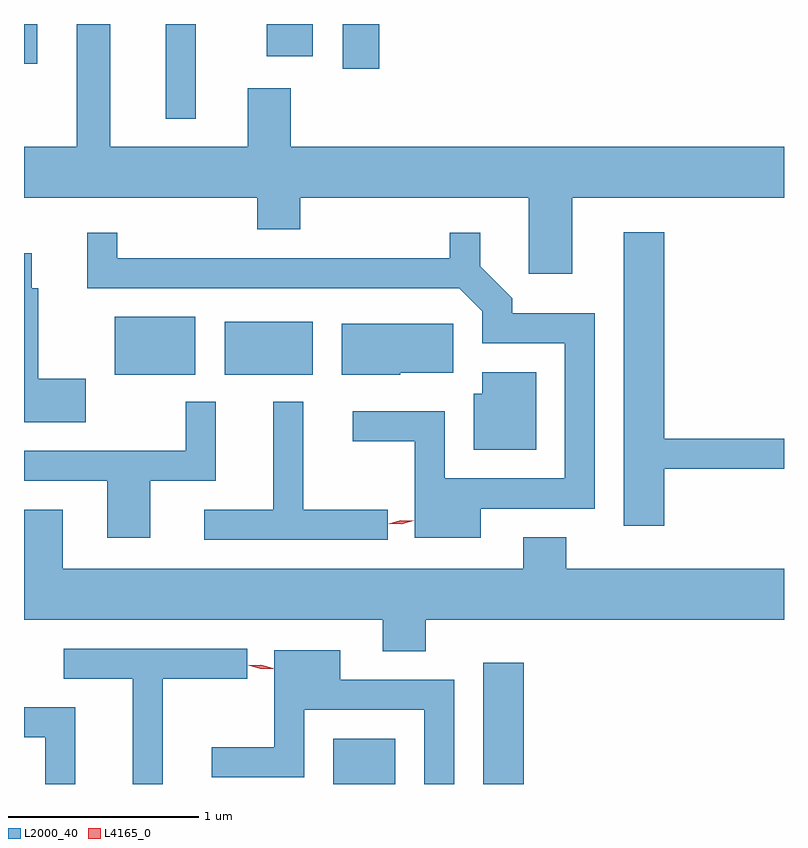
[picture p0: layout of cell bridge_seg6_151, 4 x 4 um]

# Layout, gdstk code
import gdstk
lib = gdstk.Library(unit=1e-6, precision=1e-09)
def R(c, l, rs):  # rectangles x0, y0, x1, y1
    for r in rs: c.add(gdstk.rectangle(r[:2], r[2:], *l))
def P(c, l, *ps):  # polygons
    for p in ps: c.add(gdstk.Polygon(p, *l))
L2000_40 = (2000, 40)
L4165_0 = (4165, 0)

bridge_seg6_151 = lib.new_cell('bridge_seg6_151')
R(bridge_seg6_151, L2000_40, [(1210.531,1595.791,1210.859,1596.029), (1211.321,1595.791,1211.534,1596.429), (1209.381,1597.946,1209.804,1598.249), (1209.961,1597.946,1210.424,1598.224), (1209.651,1599.293,1209.809,1599.791), (1210.581,1599.556,1210.774,1599.791), (1208.904,1599.581,1208.974,1599.791), (1210.181,1599.621,1210.424,1599.791)])
P(bridge_seg6_151, L2000_40, [(1211.789,1598.876),(1212.904,1598.876),(1212.904,1599.144),(1210.309,1599.144),(1210.309,1599.454),(1210.081,1599.454),(1210.081,1599.144),(1209.359,1599.144),(1209.359,1599.791),(1209.181,1599.791),(1209.181,1599.144),(1208.904,1599.144),(1208.904,1598.876),(1210.131,1598.876),(1210.131,1598.711),(1210.359,1598.711),(1210.359,1598.876),(1211.561,1598.876),(1211.561,1598.476),(1211.789,1598.476)],
  [(1212.274,1597.451),(1212.904,1597.451),(1212.904,1597.609),(1212.274,1597.609),(1212.274,1598.694),(1212.061,1598.694),(1212.061,1597.151),(1212.274,1597.151)],
  [(1211.309,1597.241),(1211.909,1597.241),(1211.909,1598.269),(1211.474,1598.269),(1211.474,1598.347),(1211.304,1598.517),(1211.304,1598.693),(1211.146,1598.693),(1211.146,1598.559),(1209.394,1598.559),(1209.394,1598.693),(1209.236,1598.693),(1209.236,1598.401),(1211.194,1598.401),(1211.316,1598.279),(1211.316,1598.111),(1211.751,1598.111),(1211.751,1597.399),(1211.119,1597.399),(1211.119,1597.754),(1210.633,1597.754),(1210.633,1597.596),(1210.961,1597.596),(1210.961,1597.086),(1211.309,1597.086)],
  [(1209.229,1597.924),(1208.979,1597.924),(1208.979,1598.399),(1208.944,1598.399),(1208.944,1598.584),(1208.904,1598.584),(1208.904,1597.696),(1209.229,1597.696)],
  [(1210.885,1597.956),(1211.164,1597.956),(1211.164,1598.214),(1210.576,1598.214),(1210.576,1597.946),(1210.885,1597.946)],
  [(1211.599,1597.959),(1211.316,1597.959),(1211.316,1597.844),(1211.271,1597.844),(1211.271,1597.551),(1211.599,1597.551)],
  [(1210.818,1597.234),(1210.374,1597.234),(1210.374,1597.803),(1210.216,1597.803),(1210.216,1597.234),(1209.853,1597.234),(1209.853,1597.076),(1210.818,1597.076)],
  [(1209.569,1597.386),(1209.914,1597.386),(1209.914,1597.803),(1209.756,1597.803),(1209.756,1597.544),(1208.904,1597.544),(1208.904,1597.386),(1209.341,1597.386),(1209.341,1597.086),(1209.569,1597.086)],
  [(1211.019,1596.656),(1212.904,1596.656),(1212.904,1596.924),(1211.759,1596.924),(1211.759,1597.089),(1211.531,1597.089),(1211.531,1596.924),(1209.109,1596.924),(1209.109,1597.234),(1208.904,1597.234),(1208.904,1596.656),(1210.791,1596.656),(1210.791,1596.491),(1211.019,1596.491)],
  [(1209.634,1596.346),(1210.078,1596.346),(1210.078,1596.504),(1209.113,1596.504),(1209.113,1596.346),(1209.476,1596.346),(1209.476,1595.791),(1209.634,1595.791)],
  [(1211.169,1596.339),(1210.569,1596.339),(1210.569,1596.494),(1210.221,1596.494),(1210.221,1595.984),(1209.893,1595.984),(1209.893,1595.826),(1210.379,1595.826),(1210.379,1596.181),(1211.011,1596.181),(1211.011,1595.791),(1211.169,1595.791)],
  [(1209.174,1596.194),(1208.904,1596.194),(1208.904,1596.036),(1209.016,1596.036),(1209.016,1595.791),(1209.174,1595.791)])
P(bridge_seg6_151, L4165_0, [(1210.148,1596.398),(1210.083,1596.416),(1210.083,1596.417),(1210.083,1596.417),(1210.15,1596.418),(1210.215,1596.399),(1210.215,1596.399),(1210.215,1596.398)],
  [(1210.89,1597.158),(1210.823,1597.16),(1210.823,1597.161),(1210.823,1597.161),(1210.888,1597.178),(1210.955,1597.177),(1210.956,1597.176),(1210.955,1597.176)])

lib.write_gds('bridge_seg6_151.gds')
